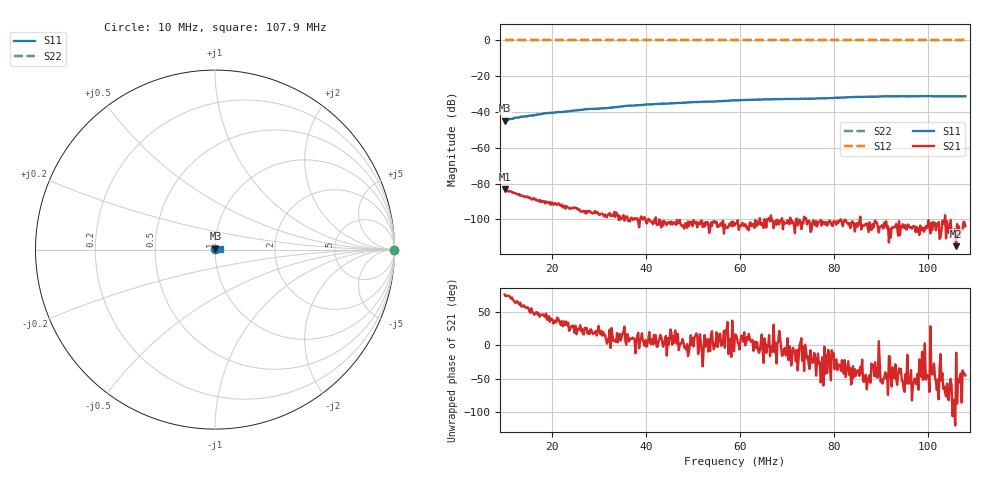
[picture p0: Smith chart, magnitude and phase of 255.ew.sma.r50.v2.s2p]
! Anritsu VNA Master:  Model: MS2036C/10/77
! SN:  1601066
! /card0/usr/255.ew.sma.r50.v2.s2p
! Existing Calibration Information:
! TYPE:  Current Settings,  Active Cal Settings
! TIME:  12/17/2017 06:16:52 PM,  12/17/2017 06:11:23 PM
! INTERNAL TEMP:  43.8 C,  43.8 C
! # POINTS:  501,  501
! START FREQ:  10.000 MHz,  10.000 MHz
! STOP FREQ:  107.903 125 MHz,  107.903 125 MHz
! SOURCE POWER:  High,  High
! IFBW:  100 Hz,  100 Hz
! AVG FACTOR:  1 ,  1
! REF PLANE 1:  0 mm,  0 mm
! REF PLANE 2:  0 mm,  0 mm
! CAL TYPE:  Full S11,  Full S11
! CAL METHOD:  SOLT,  SOLT
! CAL LINE TYPE:  Coax,  Coax
! DUT PORT 1:  K-Conn(F),  K-Conn(F)
! DUT PORT 2:  K-Conn(F),  K-Conn(F)
! CAL STATUS:  OK: Accuracy High,  --
# GHZ S DB R 50.0
! FREQ.GHZ  S11DB  S11A  S21DB  S21A  S12DB  S12A  S22DB  S22A
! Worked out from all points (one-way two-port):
!   501 points, 10 MHz to 107.9 MHz, reference 50 ohm
!   highest |S21| = -83.16 dB at 10 MHz (marker M1); lowest = -114.9 dB at 105.9 MHz (marker M2)
!   lowest |S11| = -44.8 dB at 10 MHz (marker M3), VSWR 1.01, Z = 50.2 + j0.525 ohm
!   |S11| at or under -10 dB: start of sweep to end of sweep
!   |S22| runs from 0.0 to 0.0 dB; largest |S21 - S12| = 1
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0.01  -44.77 64.7  -83.16 75.7  0.00 0.0  0.00 0.0
0.01039161  -44.63 64.3  -83.79 73.9  0.00 0.0  0.00 0.0
0.01234967  -43.23 65.8  -85.26 63.0  0.00 0.0  0.00 0.0
0.01372032  -42.67 65.7  -86.64 57.7  0.00 0.0  0.00 0.0
0.01469935  -42.44 64.3  -87.64 55.5  0.00 0.0  0.00 0.0
0.01900709  -40.67 61.5  -90.26 38.3  0.00 0.0  0.00 0.0
0.02233579  -39.97 59.4  -93.19 28.6  0.00 0.0  0.00 0.0
0.02644772  -38.67 56.3  -95.42 24.6  0.00 0.0  0.00 0.0
0.02781837  -38.28 55.7  -95.46 20.4  0.00 0.0  0.00 0.0
0.03212611  -37.69 51.6  -97.02 10.6  0.00 0.0  0.00 0.0
0.03604223  -36.54 48.4  -98.26 16.6  0.00 0.0  0.00 0.0
0.04269964  -35.43 45.7  -102.94 5.5  0.00 0.0  0.00 0.0
0.05053189  -34.43 41.5  -102.09 13.5  0.00 0.0  0.00 0.0
0.05914737  -33.41 35.3  -102.02 15.6  0.00 0.0  0.00 0.0
0.06580478  -32.81 32.3  -99.75 -0.1  0.00 0.0  0.00 0.0
0.07539929  -32.52 25.2  -101.82 -26.3  0.00 0.0  0.00 0.0
0.08440638  -31.62 17.7  -106.74 -35.6  0.00 0.0  0.00 0.0
0.09165121  -31.19 14.4  -112.84 -16.0  0.00 0.0  0.00 0.0
0.1002667  -31.08 10.1  -104.93 -69.7  0.00 0.0  0.00 0.0
0.1014415  -31.12 9.2  -101.86 -47.7  0.00 0.0  0.00 0.0
0.1059451  -31.16 5.1  -114.91 -11.1  0.00 0.0  0.00 0.0
0.1079031  -31.21 4.5  -103.87 -45.3  0.00 0.0  0.00 0.0
